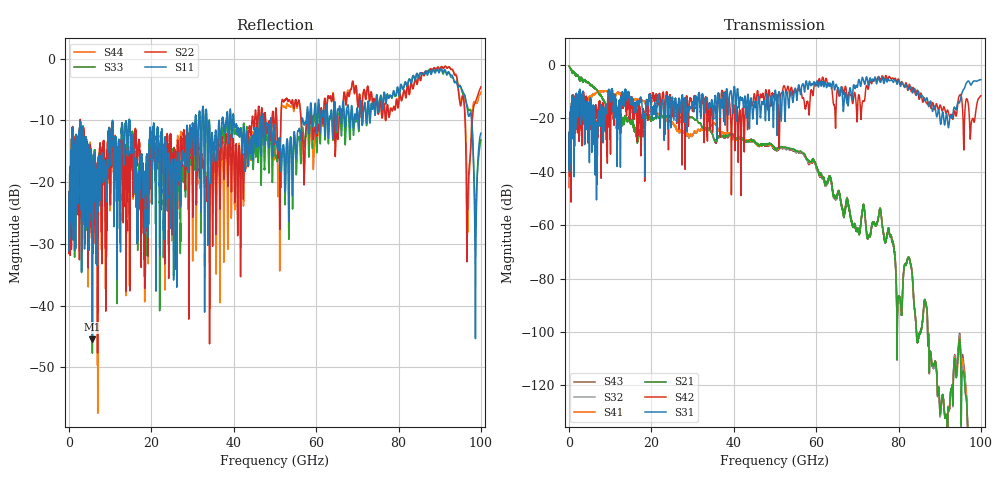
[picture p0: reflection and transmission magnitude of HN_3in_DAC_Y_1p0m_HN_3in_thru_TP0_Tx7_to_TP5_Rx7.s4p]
# GHz S RI R 45
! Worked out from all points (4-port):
!   4000 points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, 25 MHz to 100 GHz, reference 45 ohm
!   strongest paths, dB at 25 MHz, 25.02 GHz, 50.02 GHz, 75.03 GHz, 100 GHz:
!     S31: -39.1, -12.4, -9.7, -4.6, -5.5
!     S42: -38.9, -15.9, -12.9, -4.7, -11.5
!     S21: -0.4, -19.1, -31.1, -57.7, -180.1
!     S41: -45.9, -21.3, -31.3, -57.7, -182.6
!     S32: -45.9, -21.5, -31.2, -57.7, -181.7
!     S43: -0.4, -19.2, -31.5, -57.7, -174.4
!   lowest |S11| = -45.4 dB at 5.675 GHz (marker M1), VSWR 1.01, Z = 44.9 + j0.463 ohm
!   |S11| at or under -10 dB: start of sweep to 10.55 GHz; 14.73 GHz to 30.62 GHz (15.89 GHz wide, 70.1 % of centre); 49.09 GHz to 56.56 GHz (7.47 GHz wide, 14.1 % of centre) (the widest 3 of 35)
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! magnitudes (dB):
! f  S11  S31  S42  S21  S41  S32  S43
! 25 MHz  -24.2  -39.1  -38.9  -0.4  -45.9  -45.9  -0.4
! 5.675 GHz  -45.4  -20.4  -20.1  -7.8  -11.4  -11.4  -7.8
! 56.58 GHz  -9.9  -7.6  -11.9  -32.7  -32.8  -32.9  -33.1
! 79.9 GHz  -4.9  -6.2  -5.2  -87.4  -87.4  -87.3  -87.3
! 91.67 GHz  -2.5  -18.2  -17.8  -131.2  -131.1  -131.2  -131.1
! 96.9 GHz  -9.0  -6.0  -14.2  -143.2  -139.6  -142.9  -138.3
! 100 GHz  -12.1  -5.5  -11.5  -180.1  -182.6  -181.7  -174.4
